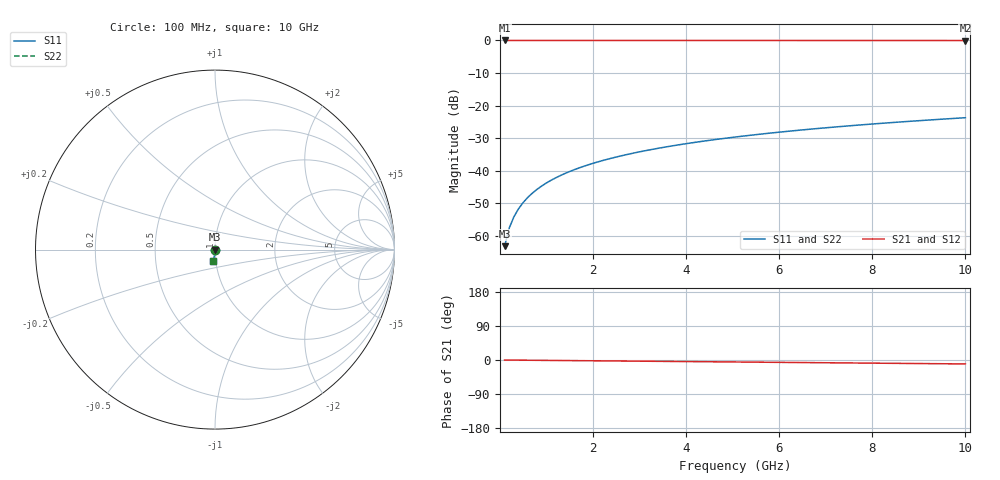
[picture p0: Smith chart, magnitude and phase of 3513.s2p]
# Hz S RI R 50.00
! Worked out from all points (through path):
!   100 points, 100 MHz to 10 GHz, reference 50 ohm
!   highest |S21| = 0.00 dB at 100 MHz (marker M1); lowest = 0.0 dB at 10 GHz (marker M2)
!   group delay of S21, straight-line fit = 2.89 ps
!   lowest |S11| = -63.2 dB at 100 MHz (marker M3), VSWR 1.00, Z = 50 - j0.0646 ohm
!   |S11| at or under -10 dB: start of sweep to end of sweep
!   |S22| runs from -63.2 to -23.8 dB; largest |S21 - S12| = 0
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1e8  0.00024 -0.000645  0.9998 -0.0018  0.9998 -0.0018  0.00024 -0.000645
2e8  0.000237 -0.00129  0.9997 -0.00359  0.9997 -0.00359  0.000237 -0.00129
3e8  0.000231 -0.00194  0.9997 -0.00539  0.9997 -0.00539  0.000231 -0.00194
4e8  0.000223 -0.00258  0.9997 -0.00718  0.9997 -0.00718  0.000223 -0.00258
5e8  0.000212 -0.00323  0.9997 -0.00898  0.9997 -0.00898  0.000212 -0.00323
6e8  0.000199 -0.00387  0.9997 -0.0108  0.9997 -0.0108  0.000199 -0.00387
7e8  0.000183 -0.00452  0.9997 -0.0126  0.9997 -0.0126  0.000183 -0.00452
8e8  0.000166 -0.00516  0.9996 -0.0144  0.9996 -0.0144  0.000166 -0.00516
9e8  0.000145 -0.00581  0.9996 -0.0162  0.9996 -0.0162  0.000145 -0.00581
1.1e9  9.76e-05 -0.0071  0.9995 -0.0198  0.9995 -0.0198  9.76e-05 -0.0071
1.4e9  8.46e-06 -0.00904  0.9994 -0.0252  0.9994 -0.0252  8.46e-06 -0.00904
1.8e9  -0.000143 -0.0116  0.9991 -0.0323  0.9991 -0.0323  -0.000143 -0.0116
2.1e9  -0.000282 -0.0136  0.9989 -0.0377  0.9989 -0.0377  -0.000282 -0.0136
2.5e9  -0.000499 -0.0162  0.9986 -0.0449  0.9986 -0.0449  -0.000499 -0.0162
2.9e9  -0.000754 -0.0187  0.9982 -0.0521  0.9982 -0.0521  -0.000754 -0.0187
3.4e9  -0.00113 -0.022  0.9976 -0.0611  0.9976 -0.0611  -0.00113 -0.022
4.2e9  -0.00184 -0.0271  0.9965 -0.0756  0.9965 -0.0756  -0.00184 -0.0271
5.1e9  -0.00283 -0.0329  0.9949 -0.0918  0.9949 -0.0918  -0.00283 -0.0329
5.9e9  -0.00387 -0.0381  0.9933 -0.1062  0.9933 -0.1062  -0.00387 -0.0381
6.7e9  -0.00506 -0.0432  0.9914 -0.1206  0.9914 -0.1206  -0.00506 -0.0432
8.4e9  -0.00809 -0.0539  0.9866 -0.1513  0.9866 -0.1513  -0.00809 -0.0539
1e10  -0.0116 -0.0639  0.9811 -0.18  0.9811 -0.18  -0.0116 -0.0639
